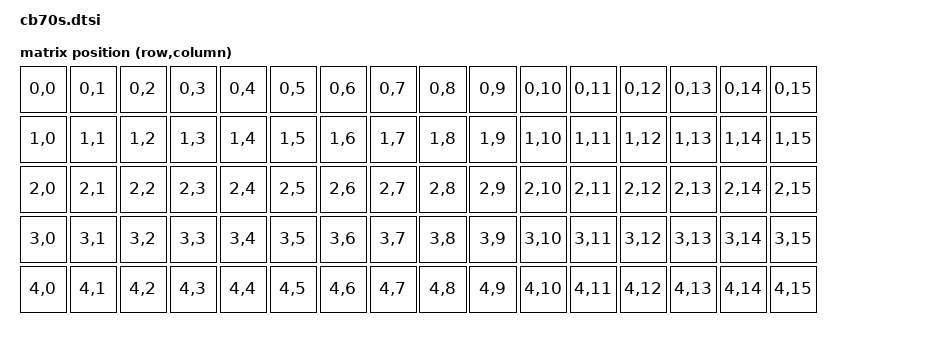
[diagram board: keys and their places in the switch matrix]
#include <dt-bindings/zmk/matrix_transform.h>
#include <physical_layouts.dtsi>

/ {
	chosen {
		zmk,physical-layout = &default_layout;
		zmk,studio-rpc-uart = &uart1;
	};

	default_transform: keymap_transform_0 {
		compatible = "zmk,matrix-transform";
		columns = <16>;
		rows = <5>;
		map = <
RC(0,0) RC(0,1) RC(0,2) RC(0,3) RC(0,4) RC(0,5) RC(0,6) RC(0,7) RC(0,8) RC(0,9) RC(0,10) RC(0,11) RC(0,12) RC(0,13) RC(0,14) RC(0,15)
RC(1,0) RC(1,1) RC(1,2) RC(1,3) RC(1,4) RC(1,5) RC(1,6) RC(1,7) RC(1,8) RC(1,9) RC(1,10) RC(1,11) RC(1,12) RC(1,13) RC(1,14) RC(1,15)
RC(2,0) RC(2,1) RC(2,2) RC(2,3) RC(2,4) RC(2,5) RC(2,6) RC(2,7) RC(2,8) RC(2,9) RC(2,10) RC(2,11) RC(2,12) RC(2,13) RC(2,14) RC(2,15)
RC(3,0) RC(3,1) RC(3,2) RC(3,3) RC(3,4) RC(3,5) RC(3,6) RC(3,7) RC(3,8) RC(3,9) RC(3,10) RC(3,11) RC(3,12) RC(3,13) RC(3,14) RC(3,15)
RC(4,0) RC(4,1) RC(4,2) RC(4,3) RC(4,4) RC(4,5) RC(4,6) RC(4,7) RC(4,8) RC(4,9) RC(4,10) RC(4,11) RC(4,12) RC(4,13) RC(4,14) RC(4,15)
		>;
	};

	kscan0: kscan {
		compatible = "zmk,kscan-gpio-matrix";
		wakeup-source;
		label = "KSCAN";

		diode-direction = "col2row";

	};

    default_layout: default_layout_0 {
        compatible = "zmk,physical-layout";
        display-name = "Default";

        kscan = <&kscan0>;
        transform = <&keymap_transform_0>;

        keys  //                     w   h    x    y     rot    rx    ry
            = <&key_physical_attrs 100 100    0    0       0     0     0>
            , <&key_physical_attrs 100 100  150    0       0     0     0>
            , <&key_physical_attrs 100 100  250    0       0     0     0>
            , <&key_physical_attrs 100 100  350    0       0     0     0>
            , <&key_physical_attrs 100 100  450    0       0     0     0>
            , <&key_physical_attrs 100 100  550    0       0     0     0>
            , <&key_physical_attrs 100 100  650    0       0     0     0>
            , <&key_physical_attrs 100 100  750    0       0     0     0>
            , <&key_physical_attrs 100 100 1000    0       0     0     0>
            , <&key_physical_attrs 100 100 1100    0       0     0     0>
            , <&key_physical_attrs 100 100 1200    0       0     0     0>
            , <&key_physical_attrs 100 100 1300    0       0     0     0>
            , <&key_physical_attrs 100 100 1400    0       0     0     0>
            , <&key_physical_attrs 100 100 1500    0       0     0     0>
            , <&key_physical_attrs 150 100 1600    0       0     0     0>
            , <&key_physical_attrs 100 100    0  100       0     0     0>
            , <&key_physical_attrs 150 100  150  100       0     0     0>
            , <&key_physical_attrs 100 100  300  100       0     0     0>
            , <&key_physical_attrs 100 100  400  100       0     0     0>
            , <&key_physical_attrs 100 100  500  100       0     0     0>
            , <&key_physical_attrs 100 100  600  100       0     0     0>
            , <&key_physical_attrs 100 100  700  100       0     0     0>
            , <&key_physical_attrs 100 100  950  100       0     0     0>
            , <&key_physical_attrs 100 100 1050  100       0     0     0>
            , <&key_physical_attrs 100 100 1150  100       0     0     0>
            , <&key_physical_attrs 100 100 1250  100       0     0     0>
            , <&key_physical_attrs 100 100 1350  100       0     0     0>
            , <&key_physical_attrs 100 100 1450  100       0     0     0>
            , <&key_physical_attrs 100 100 1550  100       0     0     0>
            , <&key_physical_attrs 100 100 1650  100       0     0     0>
            , <&key_physical_attrs 100 100    0  200       0     0     0>
            , <&key_physical_attrs 150 100  175  200       0     0     0>
            , <&key_physical_attrs 100 100  325  200       0     0     0>
            , <&key_physical_attrs 100 100  425  200       0     0     0>
            , <&key_physical_attrs 100 100  525  200       0     0     0>
            , <&key_physical_attrs 100 100  625  200       0     0     0>
            , <&key_physical_attrs 100 100  725  200       0     0     0>
            , <&key_physical_attrs 100 100  975  200       0     0     0>
            , <&key_physical_attrs 100 100 1075  200       0     0     0>
            , <&key_physical_attrs 100 100 1175  200       0     0     0>
            , <&key_physical_attrs 100 100 1275  200       0     0     0>
            , <&key_physical_attrs 100 100 1375  200       0     0     0>
            , <&key_physical_attrs 100 100 1475  200       0     0     0>
            , <&key_physical_attrs 150 100 1575  200       0     0     0>
            , <&key_physical_attrs 100 100    0  300       0     0     0>
            , <&key_physical_attrs 150 100  200  300       0     0     0>
            , <&key_physical_attrs 100 100  375  300       0     0     0>
            , <&key_physical_attrs 100 100  475  300       0     0     0>
            , <&key_physical_attrs 100 100  575  300       0     0     0>
            , <&key_physical_attrs 100 100  675  300       0     0     0>
            , <&key_physical_attrs 100 100  775  300       0     0     0>
            , <&key_physical_attrs 100 100 1025  300       0     0     0>
            , <&key_physical_attrs 100 100 1125  300       0     0     0>
            , <&key_physical_attrs 100 100 1225  300       0     0     0>
            , <&key_physical_attrs 100 100 1325  300       0     0     0>
            , <&key_physical_attrs 100 100 1425  300       0     0     0>
            , <&key_physical_attrs 100 100 1525  300       0     0     0>
            , <&key_physical_attrs 100 100 1625  300       0     0     0>
            , <&key_physical_attrs 100 100  225  400       0     0     0>
            , <&key_physical_attrs 150 100  325  400       0     0     0>
            , <&key_physical_attrs 100 100  475  400       0     0     0>
            , <&key_physical_attrs 150 100  575  400       0     0     0>
            , <&key_physical_attrs 100 100  725  400       0     0     0>
            , <&key_physical_attrs 150 100  975  400       0     0     0>
            , <&key_physical_attrs 150 100 1125  400       0     0     0>
            , <&key_physical_attrs 100 100 1275  400       0     0     0>
            , <&key_physical_attrs 100 100 1425  400       0     0     0>
            , <&key_physical_attrs 100 100 1525  400       0     0     0>
            , <&key_physical_attrs 100 100 1625  400       0     0     0>
            ;
    };
};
